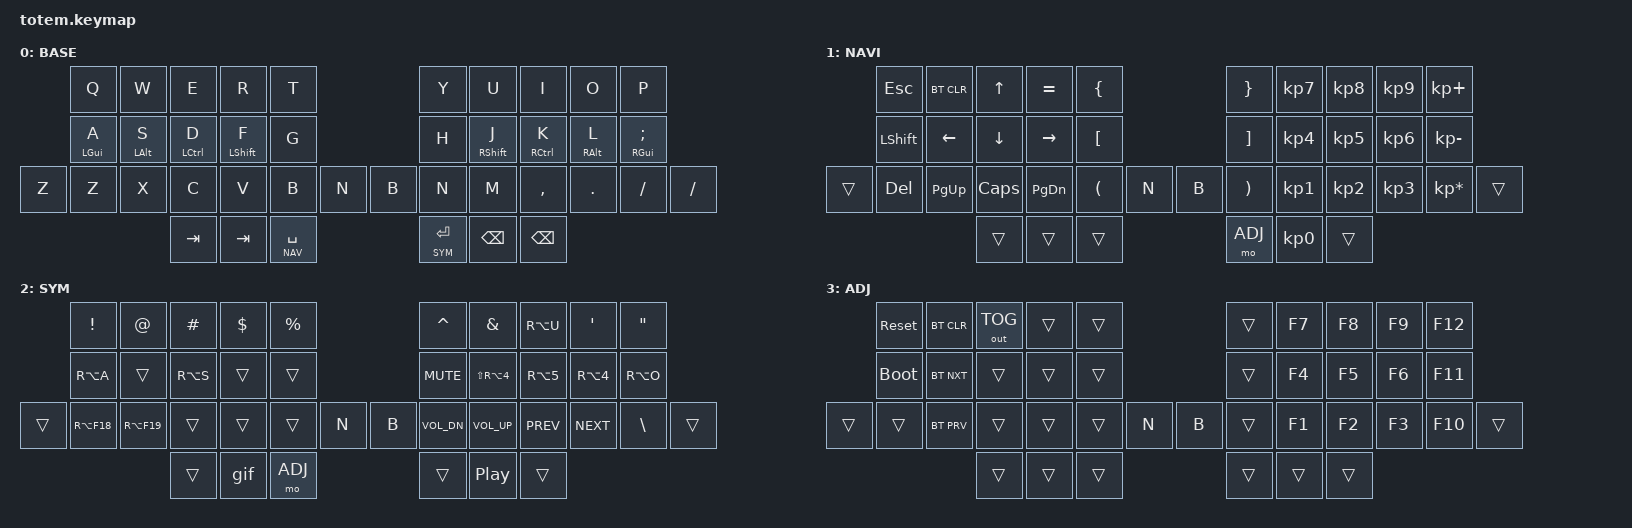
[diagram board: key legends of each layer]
//
//                                                        ▀▀▀▀▀     ▀▀▀▀▀          ▀▀█▀▀
//                                                        ▄▀▀▀▄  ▄  ▄▀▀▀▄  ▄  ▄▀▀▀▄  █  ▄▀▀▀▄
//                                                        █   █  █  █   █  █  █   █  █  █   █
//                                                         ▀▀▀   █   ▀▀▀   █   ▀▀▀   ▀   ▀▀▀
//                                                               █      ▄▄▄█▄▄▄    █   █  
//                                                               ▀      █  █  █     █▄█
//                                                             ▀▀▀▀▀    █  █  █      ▀
//                                                                      ▀  ▀  ▀
//
// ▄▄▄▄▄▄▄▄▄▄▄▄▄▄▄▄▄▄▄▄▄▄▄▄▄▄▄▄▄▄▄▄▄▄▄▄▄▄▄▄▄▄▄▄▄▄▄▄▄▄▄▄▄▄▄▄▄▄▄▄▄▄▄▄▄▄▄▄▄▄▄▄▄▄▄▄▄▄▄▄▄▄▄▄▄▄▄▄▄▄▄▄▄▄▄▄▄▄▄▄▄▄▄▄▄▄▄▄▄▄▄▄▄▄▄▄▄▄▄▄▄▄▄▄▄▄▄▄▄▄▄▄▄▄▄▄▄▄▄▄▄▄▄▄▄▄▄▄▄
       

#include <behaviors.dtsi>
#include <dt-bindings/zmk/keys.h>
#include <dt-bindings/zmk/bt.h>
#include <dt-bindings/zmk/outputs.h>

#define BASE 0
#define NAV  1
#define SYM  2
#define ADJ  3

&mt {
  quick-tap-ms = <100>;
  global-quick-tap;
  flavor = "tap-preferred";
  tapping-term-ms = <170>;
};

/ {
    combos {
            compatible = "zmk,combos";
            combo_esc {
                timeout-ms = <50>;
                key-positions = <0 1>;
                bindings = <&kp ESC>;
            };
    };

    macros {
        gif: gif {
            label = "giphy";
            compatible = "zmk,behavior-macro";
            #binding-cells = <0>;
            bindings
                = <&macro_press &kp LSHFT>
                , <&macro_tap &kp N2>
                , <&macro_release &kp LSHFT>
                , <&macro_tap &kp G &kp I &kp F>
                ;
        };
    };

        keymap {
                compatible = "zmk,keymap";
// ▄▄▄▄▄▄▄▄▄▄▄▄▄▄▄▄▄▄▄▄▄▄▄▄▄▄▄▄▄▄▄▄▄▄▄▄▄▄▄▄▄▄▄▄▄▄▄▄▄▄▄▄▄▄▄▄▄▄▄▄▄▄▄▄▄▄▄▄▄▄▄▄▄▄▄▄▄▄▄▄▄▄▄▄▄▄▄▄▄▄▄▄▄▄▄▄▄▄▄▄▄▄▄▄▄▄▄▄▄▄▄▄▄▄▄▄▄▄▄▄▄▄▄▄▄▄▄▄▄▄▄▄▄▄▄▄▄▄▄▄▄▄▄▄▄▄▄▄▄

                base_layer {
// ┏━━━━━━━━━━━━━━━━━━━━━━━━━━━━━━━━━━━━━━━┓
label= "BASE"                              ;
// ┗━━━━━━━━━━━━━━━━━━━━━━━━━━━━━━━━━━━━━━━┛
//             ┏━━━━━━━━━━━┳━━━━━━━━━━━┳━━━━━━━━━━━┳━━━━━━━━━━━┳━━━━━━━━━━━┓                           ┏━━━━━━━━━━━┳━━━━━━━━━━━┳━━━━━━━━━━━┳━━━━━━━━━━━┳━━━━━━━━━━━┓
//             ┃     Q     ┃     W     ┃     E     ┃     R     ┃     T     ┃                           ┃     Y     ┃     U     ┃     I     ┃     O     ┃     P     ┃
//             ┣━━━━━━━━━━━╋━━━━━━━━━━━╋━━━━━━━━━━━╋━━━━━━━━━━━╋━━━━━━━━━━━┫                           ┣━━━━━━━━━━━╋━━━━━━━━━━━╋━━━━━━━━━━━╋━━━━━━━━━━━╋━━━━━━━━━━━┫
//             ┃     A     ┃     S     ┃     D     ┃     F     ┃     G     ┃                           ┃     H     ┃     J     ┃     K     ┃     L     ┃     ;     ┃
// ┏━━━━━━━━━━━╋━━━━━━━━━━━╋━━━━━━━━━━━╋━━━━━━━━━━━╋━━━━━━━━━━━╋━━━━━━━━━━━╋━━━━━━━━━━━┓   ┏━━━━━━━━━━━╋━━━━━━━━━━━╋━━━━━━━━━━━╋━━━━━━━━━━━╋━━━━━━━━━━━╋━━━━━━━━━━━╋━━━━━━━━━━━┓
// ┃           ┃     Z     ┃     X     ┃     C     ┃     V     ┃     B     ┃     N     ┃   ┃     B     ┃     N     ┃     M     ┃     ,     ┃     .     ┃     /     ┃           ┃
// ┗━━━━━━━━━━━┻━━━━━━━━━━━┻━━━━━━━━━━━╋━━━━━━━━━━━╋━━━━━━━━━━━╋━━━━━━━━━━━╋━━━━━━━━━━━┛   ┗━━━━━━━━━━━╋━━━━━━━━━━━╋━━━━━━━━━━━╋━━━━━━━━━━━╋━━━━━━━━━━━┻━━━━━━━━━━━┻━━━━━━━━━━━┛
//                                     ┃           ┃    TAB    ┃    SPC    ┃                           ┃   ENTER   ┃   BSPC    ┃           ┃
//                                     ┗━━━━━━━━━━━┻━━━━━━━━━━━┻━━━━━━━━━━━┛                           ┗━━━━━━━━━━━┻━━━━━━━━━━━┻━━━━━━━━━━━┛
 bindings = <
// ╷           ╷           ╷           ╷           ╷           ╷           ╷           ╷   ╷           ╷           ╷           ╷           ╷           ╷           ╷           ╷

                &kp Q       &kp W       &kp E       &kp R       &kp T                                   &kp Y       &kp U       &kp I       &kp O       &kp P
                &mt LGUI A  &mt LALT S  &mt LCTRL D &mt LSHFT F &kp G                                   &kp H       &mt RSHFT J &mt RCTRL K &mt RALT L  &mt RGUI SEMI
    &kp Z       &kp Z       &kp X       &kp C       &kp V       &kp B       &kp N           &kp B       &kp N       &kp M       &kp COMMA   &kp DOT     &kp FSLH    &kp FSLH
                                        &kp TAB     &kp TAB     &lt NAV SPACE                           &lt SYM RET &kp BSPC    &kp BSPC
                        >;
                };

// ▄▄▄▄▄▄▄▄▄▄▄▄▄▄▄▄▄▄▄▄▄▄▄▄▄▄▄▄▄▄▄▄▄▄▄▄▄▄▄▄▄▄▄▄▄▄▄▄▄▄▄▄▄▄▄▄▄▄▄▄▄▄▄▄▄▄▄▄▄▄▄▄▄▄▄▄▄▄▄▄▄▄▄▄▄▄▄▄▄▄▄▄▄▄▄▄▄▄▄▄▄▄▄▄▄▄▄▄▄▄▄▄▄▄▄▄▄▄▄▄▄▄▄▄▄▄▄▄▄▄▄▄▄▄▄▄▄▄▄▄▄▄▄▄▄▄▄▄▄


                nav_layer {
// ┏━━━━━━━━━━━━━━━━━━━━━━━━━━━━━━━━━━━━━━━┓
label= "NAVI"                              ;
// ┗━━━━━━━━━━━━━━━━━━━━━━━━━━━━━━━━━━━━━━━┛
//             ┏━━━━━━━━━━━┳━━━━━━━━━━━┳━━━━━━━━━━━┳━━━━━━━━━━━┳━━━━━━━━━━━┓                           ┏━━━━━━━━━━━┳━━━━━━━━━━━┳━━━━━━━━━━━┳━━━━━━━━━━━┳━━━━━━━━━━━┓
//             ┃           ┃           ┃     UP    ┃           ┃     {     ┃                           ┃     }     ┃     7     ┃     8     ┃     9     ┃     +     ┃
//             ┣━━━━━━━━━━━╋━━━━━━━━━━━╋━━━━━━━━━━━╋━━━━━━━━━━━╋━━━━━━━━━━━┫                           ┣━━━━━━━━━━━╋━━━━━━━━━━━╋━━━━━━━━━━━╋━━━━━━━━━━━╋━━━━━━━━━━━┫
//             ┃   SHIFT   ┃   LEFT    ┃    DOWN   ┃   RIGHT   ┃     [     ┃                           ┃     ]     ┃     4     ┃     5     ┃     6     ┃     -     ┃
// ┏━━━━━━━━━━━╋━━━━━━━━━━━╋━━━━━━━━━━━╋━━━━━━━━━━━╋━━━━━━━━━━━╋━━━━━━━━━━━╋━━━━━━━━━━━┓   ┏━━━━━━━━━━━╋━━━━━━━━━━━╋━━━━━━━━━━━╋━━━━━━━━━━━╋━━━━━━━━━━━╋━━━━━━━━━━━╋━━━━━━━━━━━┓
// ┃           ┃           ┃   P UP    ┃  C LOCK   ┃  P DOWN   ┃     (     ┃     N     ┃   ┃     B     ┃     )     ┃     1     ┃     2     ┃     3     ┃     *     ┃           ┃
// ┗━━━━━━━━━━━┻━━━━━━━━━━━┻━━━━━━━━━━━╋━━━━━━━━━━━╋━━━━━━━━━━━╋━━━━━━━━━━━╋━━━━━━━━━━━┛   ┗━━━━━━━━━━━╋━━━━━━━━━━━╋━━━━━━━━━━━╋━━━━━━━━━━━╋━━━━━━━━━━━┻━━━━━━━━━━━┻━━━━━━━━━━━┛
//                                     ┃           ┃    TAB    ┃    SPC    ┃                           ┃    DEL    ┃     0     ┃           ┃
//                                     ┗━━━━━━━━━━━┻━━━━━━━━━━━┻━━━━━━━━━━━┛                           ┗━━━━━━━━━━━┻━━━━━━━━━━━┻━━━━━━━━━━━┛
 bindings = <
// ╷           ╷           ╷           ╷           ╷           ╷           ╷           ╷   ╷           ╷           ╷           ╷           ╷           ╷           ╷           ╷

                &kp ESC     &bt BT_CLR  &kp UP      &kp EQUAL   &kp LBRC                                &kp RBRC    &kp KP_N7   &kp KP_N8   &kp KP_N9   &kp KP_PLUS
                &kp LSHFT   &kp LEFT    &kp DOWN    &kp RIGHT   &kp LBKT                                &kp RBKT    &kp KP_N4   &kp KP_N5   &kp KP_N6   &kp KP_MINUS
    &trans      &kp DEL     &kp PG_UP   &kp CAPS    &kp PG_DN   &kp LPAR    &kp N           &kp B       &kp RPAR    &kp KP_N1   &kp KP_N2   &kp KP_N3   &kp KP_MULTIPLY &trans      
                                        &trans      &trans      &trans                                  &mo ADJ     &kp KP_N0   &trans      
                        >;
                };

// ▄▄▄▄▄▄▄▄▄▄▄▄▄▄▄▄▄▄▄▄▄▄▄▄▄▄▄▄▄▄▄▄▄▄▄▄▄▄▄▄▄▄▄▄▄▄▄▄▄▄▄▄▄▄▄▄▄▄▄▄▄▄▄▄▄▄▄▄▄▄▄▄▄▄▄▄▄▄▄▄▄▄▄▄▄▄▄▄▄▄▄▄▄▄▄▄▄▄▄▄▄▄▄▄▄▄▄▄▄▄▄▄▄▄▄▄▄▄▄▄▄▄▄▄▄▄▄▄▄▄▄▄▄▄▄▄▄▄▄▄▄▄▄▄▄▄▄▄▄


                sim_layer {
// ┏━━━━━━━━━━━━━━━━━━━━━━━━━━━━━━━━━━━━━━━┓
label= "SYM"                               ;
// ┗━━━━━━━━━━━━━━━━━━━━━━━━━━━━━━━━━━━━━━━┛
//             ┏━━━━━━━━━━━┳━━━━━━━━━━━┳━━━━━━━━━━━┳━━━━━━━━━━━┳━━━━━━━━━━━┓                           ┏━━━━━━━━━━━┳━━━━━━━━━━━┳━━━━━━━━━━━┳━━━━━━━━━━━┳━━━━━━━━━━━┓
//             ┃     !     ┃     @     ┃     #     ┃     $     ┃     %     ┃                           ┃     ˆ     ┃     &     ┃     Ü     ┃     '     ┃     "     ┃
//             ┣━━━━━━━━━━━╋━━━━━━━━━━━╋━━━━━━━━━━━╋━━━━━━━━━━━╋━━━━━━━━━━━┫                           ┣━━━━━━━━━━━╋━━━━━━━━━━━╋━━━━━━━━━━━╋━━━━━━━━━━━╋━━━━━━━━━━━┫
//             ┃     Ä     ┃           ┃    SZ     ┃           ┃           ┃                           ┃   MUTE    ┃   YEN     ┃   EURO    ┃  POUND    ┃     Ö     ┃
// ┏━━━━━━━━━━━╋━━━━━━━━━━━╋━━━━━━━━━━━╋━━━━━━━━━━━╋━━━━━━━━━━━╋━━━━━━━━━━━╋━━━━━━━━━━━┓   ┏━━━━━━━━━━━╋━━━━━━━━━━━╋━━━━━━━━━━━╋━━━━━━━━━━━╋━━━━━━━━━━━╋━━━━━━━━━━━╋━━━━━━━━━━━┓
// ┃           ┃  EMAIL1   ┃  EMAIL2   ┃           ┃           ┃           ┃     N     ┃   ┃     B     ┃   VOL-    ┃   VOL+    ┃   LAST    ┃   NEXT    ┃     \     ┃           ┃
// ┗━━━━━━━━━━━┻━━━━━━━━━━━┻━━━━━━━━━━━╋━━━━━━━━━━━╋━━━━━━━━━━━╋━━━━━━━━━━━╋━━━━━━━━━━━┛   ┗━━━━━━━━━━━╋━━━━━━━━━━━╋━━━━━━━━━━━╋━━━━━━━━━━━╋━━━━━━━━━━━┻━━━━━━━━━━━┻━━━━━━━━━━━┛
//                                     ┃           ┃    GIF    ┃    ADJ    ┃                           ┃           ┃           ┃           ┃
//                                     ┗━━━━━━━━━━━┻━━━━━━━━━━━┻━━━━━━━━━━━┛                           ┗━━━━━━━━━━━┻━━━━━━━━━━━┻━━━━━━━━━━━┛
 bindings = <
// ╷           ╷           ╷           ╷           ╷           ╷           ╷           ╷   ╷           ╷           ╷           ╷           ╷           ╷           ╷           ╷

                &kp EXCL    &kp AT      &kp HASH    &kp DLLR    &kp PRCNT                               &kp CARET   &kp AMPS    &kp RA(U)   &kp SQT     &kp DQT       
                &kp RA(A)   &trans      &kp RA(S)   &trans      &trans                                  &kp C_MUTE  &kp LS(RA(N4)) &kp RA(N5) &kp RA(N4)   &kp RA(O) 
    &trans      &kp RA(F18) &kp RA(F19) &trans      &trans      &trans      &kp N           &kp B       &kp C_VOL_DN &kp C_VOL_UP &kp C_PREV &kp C_NEXT  &kp BSLH   &trans         
                                        &trans      &gif        &mo ADJ                                 &trans      &kp C_PP    &trans      
                        >;
                };

// ▄▄▄▄▄▄▄▄▄▄▄▄▄▄▄▄▄▄▄▄▄▄▄▄▄▄▄▄▄▄▄▄▄▄▄▄▄▄▄▄▄▄▄▄▄▄▄▄▄▄▄▄▄▄▄▄▄▄▄▄▄▄▄▄▄▄▄▄▄▄▄▄▄▄▄▄▄▄▄▄▄▄▄▄▄▄▄▄▄▄▄▄▄▄▄▄▄▄▄▄▄▄▄▄▄▄▄▄▄▄▄▄▄▄▄▄▄▄▄▄▄▄▄▄▄▄▄▄▄▄▄▄▄▄▄▄▄▄▄▄▄▄▄▄▄▄▄▄▄


                adjust_layer {
// ┏━━━━━━━━━━━━━━━━━━━━━━━━━━━━━━━━━━━━━━━┓
label= "ADJ"                               ;
// ┗━━━━━━━━━━━━━━━━━━━━━━━━━━━━━━━━━━━━━━━┛
//             ┏━━━━━━━━━━━┳━━━━━━━━━━━┳━━━━━━━━━━━┳━━━━━━━━━━━┳━━━━━━━━━━━┓                           ┏━━━━━━━━━━━┳━━━━━━━━━━━┳━━━━━━━━━━━┳━━━━━━━━━━━┳━━━━━━━━━━━┓
//             ┃   RESET   ┃ BT CLEAR  ┃  OUT TOG  ┃           ┃           ┃                           ┃           ┃    F7     ┃    F8     ┃    F9     ┃    F12    ┃
//             ┣━━━━━━━━━━━╋━━━━━━━━━━━╋━━━━━━━━━━━╋━━━━━━━━━━━╋━━━━━━━━━━━┫                           ┣━━━━━━━━━━━╋━━━━━━━━━━━╋━━━━━━━━━━━╋━━━━━━━━━━━╋━━━━━━━━━━━┫
//             ┃ BOOTLOAD  ┃ BT NEXT   ┃           ┃           ┃           ┃                           ┃           ┃    F4     ┃    F5     ┃    F6     ┃    F11    ┃
// ┏━━━━━━━━━━━╋━━━━━━━━━━━╋━━━━━━━━━━━╋━━━━━━━━━━━╋━━━━━━━━━━━╋━━━━━━━━━━━╋━━━━━━━━━━━┓   ┏━━━━━━━━━━━╋━━━━━━━━━━━╋━━━━━━━━━━━╋━━━━━━━━━━━╋━━━━━━━━━━━╋━━━━━━━━━━━╋━━━━━━━━━━━┓
// ┃           ┃           ┃ BT PREV   ┃           ┃           ┃           ┃     N     ┃   ┃     B     ┃           ┃    F1     ┃    F2     ┃    F3     ┃    F10    ┃           ┃
// ┗━━━━━━━━━━━┻━━━━━━━━━━━┻━━━━━━━━━━━╋━━━━━━━━━━━╋━━━━━━━━━━━╋━━━━━━━━━━━╋━━━━━━━━━━━┛   ┗━━━━━━━━━━━╋━━━━━━━━━━━╋━━━━━━━━━━━╋━━━━━━━━━━━╋━━━━━━━━━━━┻━━━━━━━━━━━┻━━━━━━━━━━━┛
//                                     ┃           ┃           ┃           ┃                           ┃           ┃           ┃           ┃
//                                     ┗━━━━━━━━━━━┻━━━━━━━━━━━┻━━━━━━━━━━━┛                           ┗━━━━━━━━━━━┻━━━━━━━━━━━┻━━━━━━━━━━━┛
 bindings = <
// ╷           ╷           ╷           ╷           ╷           ╷           ╷           ╷   ╷           ╷           ╷           ╷           ╷           ╷           ╷           ╷

                &sys_reset  &bt BT_CLR &out OUT_TOG &trans      &trans                                  &trans      &kp F7      &kp F8      &kp F9      &kp F12
                &bootloader &bt BT_NXT  &trans      &trans      &trans                                  &trans      &kp F4      &kp F5      &kp F6      &kp F11  
    &trans      &trans      &bt BT_PRV  &trans      &trans      &trans      &kp N           &kp B       &trans      &kp F1      &kp F2      &kp F3      &kp F10     &trans         
                                        &trans      &trans      &trans                                  &trans      &trans      &trans      
                        >;
                };
        };
};
